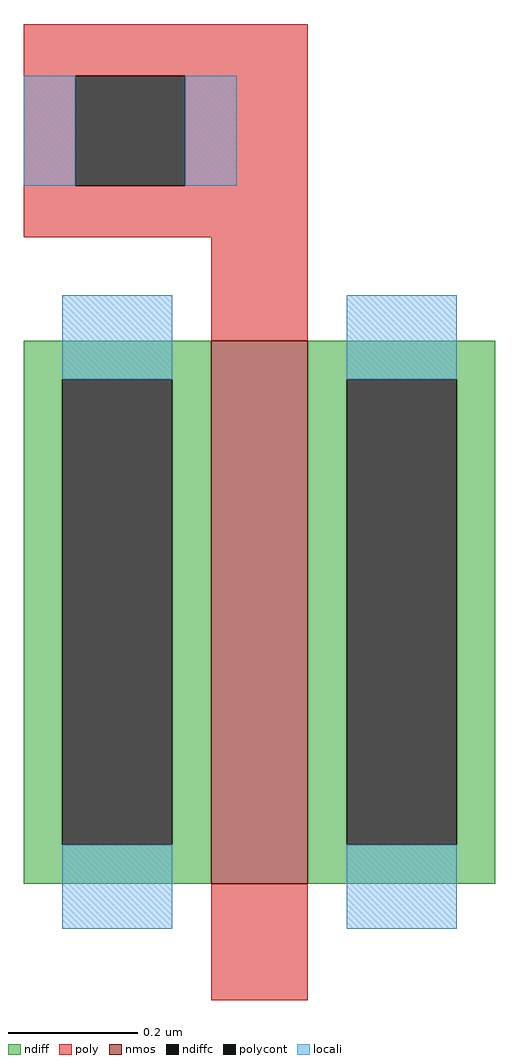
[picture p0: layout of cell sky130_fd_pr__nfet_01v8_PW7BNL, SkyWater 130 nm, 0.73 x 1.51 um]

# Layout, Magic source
magic
tech sky130A
magscale 1 2
<< nmos >>
rect -15 -163 15 5
<< ndiff >>
rect -73 -7 -15 5
rect -73 -151 -61 -7
rect -27 -151 -15 -7
rect -73 -163 -15 -151
rect 15 -7 73 5
rect 15 -151 27 -7
rect 61 -151 73 -7
rect 15 -163 73 -151
<< ndiffc >>
rect -61 -151 -27 -7
rect 27 -151 61 -7
<< poly >>
rect -73 87 15 103
rect -73 53 -57 87
rect -23 53 15 87
rect -73 37 15 53
rect -15 5 15 37
rect -15 -199 15 -163
<< polycont >>
rect -57 53 -23 87
<< locali >>
rect -73 53 -57 87
rect -23 53 -7 87
rect -61 -7 -27 19
rect -61 -177 -27 -151
rect 27 -7 61 19
rect 27 -177 61 -151
<< properties >>
string gencell sky130_fd_pr__nfet_01v8
string library sky130
string parameters w 0.460 l 0.150 m 1 nf 1 diffcov 100 polycov 100 guard 0 glc 0 grc 0 gtc 0 gbc 0 tbcov 100 rlcov 100 topc 1 botc 0 poverlap 0 doverlap 1 lmin 0.15 wmin 0.42 compatible {sky130_fd_pr__nfet_01v8 sky130_fd_pr__nfet_01v8_lvt  sky130_fd_bs_flash__special_sonosfet_star  sky130_fd_pr__nfet_g5v0d10v5 sky130_fd_pr__nfet_05v0_nvt  sky130_fd_pr__nfet_03v3_nvt} full_metal 0 viasrc 100 viadrn 100 viagate 100 viagb 0 viagr 0 viagl 0 viagt 0
<< end >>
